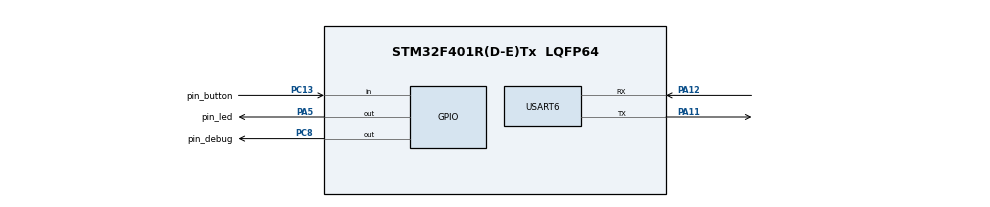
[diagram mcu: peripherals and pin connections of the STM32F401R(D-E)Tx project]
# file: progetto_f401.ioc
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FREERTOS.Tasks01=main_task,24,128,start_main_task,Default,NULL,Dynamic,NULL,NULL;second_task,8,128,start_second_task,Default,NULL,Dynamic,NULL,NULL
Mcu.Family=STM32F4
Mcu.Name=STM32F401R(D-E)Tx
Mcu.Package=LQFP64
NVIC.PriorityGroup=NVIC_PRIORITYGROUP_4
NVIC.TIM1_UP_TIM10_IRQn=true\:0\:0\:false\:false\:true\:false\:false\:true
NVIC.TimeBase=TIM1_UP_TIM10_IRQn
NVIC.TimeBaseIP=TIM1
NVIC.USART6_IRQn=true\:5\:0\:false\:false\:true\:true\:true\:true
PA11.Mode=Asynchronous
PA11.Signal=USART6_TX
PA12.Mode=Asynchronous
PA12.Signal=USART6_RX
PA5.GPIO_Label=pin_led
PA5.Signal=GPIO_Output
PC13-ANTI_TAMP.GPIO_Label=pin_button
PC13-ANTI_TAMP.Signal=GPIO_Input
PC8.GPIO_Label=pin_debug
PC8.Signal=GPIO_Output
PH0\ -\ OSC_IN.Mode=HSE-External-Oscillator
PH0\ -\ OSC_IN.Signal=RCC_OSC_IN
PH1\ -\ OSC_OUT.Mode=HSE-External-Oscillator
PH1\ -\ OSC_OUT.Signal=RCC_OSC_OUT
ProjectManager.HeapSize=0x200
ProjectManager.StackSize=0x400
ProjectManager.TargetToolchain=STM32CubeIDE
RCC.48MHZClocksFreq_Value=42000000
RCC.AHBFreq_Value=84000000
RCC.APB1CLKDivider=RCC_HCLK_DIV2
RCC.APB1Freq_Value=42000000
RCC.APB1TimFreq_Value=84000000
RCC.APB2Freq_Value=84000000
RCC.APB2TimFreq_Value=84000000
RCC.CortexFreq_Value=84000000
RCC.HCLKFreq_Value=84000000
RCC.HSE_VALUE=8000000
RCC.HSI_VALUE=16000000
RCC.LSE_VALUE=32768
RCC.PLLM=4
RCC.PLLN=84
RCC.PLLSourceVirtual=RCC_PLLSOURCE_HSE
RCC.SYSCLKFreq_VALUE=84000000
RCC.SYSCLKSource=RCC_SYSCLKSOURCE_PLLCLK
RCC.VCOOutputFreq_Value=168000000
USART6.VirtualMode=VM_ASYNC
VP_FREERTOS_VS_CMSIS_V2.Mode=CMSIS_V2
VP_SYS_VS_tim1.Mode=TIM1
board=custom

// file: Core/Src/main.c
/* USER CODE BEGIN Header */
/**
  ******************************************************************************
  * @file           : main.c
  * @brief          : Main program body
  ******************************************************************************
  * @attention
  *
  * <h2><center>&copy; Copyright (c) 2021 STMicroelectronics.
  * All rights reserved.</center></h2>
  *
  * This software component is licensed by ST under BSD 3-Clause license,
  * the "License"; You may not use this file except in compliance with the
  * License. You may obtain a copy of the License at:
  *                        opensource.org/licenses/BSD-3-Clause
  *
  ******************************************************************************
  */
/* USER CODE END Header */
#include "main.h"
#include "cmsis_os.h"

/* Definitions for main_task */
osThreadId_t main_taskHandle;
const osThreadAttr_t main_task_attributes = {
  .name = "main_task",
  .priority = (osPriority_t) osPriorityNormal,
  .stack_size = 128 * 4
};
/* Definitions for second_task */
osThreadId_t second_taskHandle;
const osThreadAttr_t second_task_attributes = {
  .name = "second_task",
  .priority = (osPriority_t) osPriorityLow,
  .stack_size = 128 * 4
};

void SystemClock_Config(void);
static void MX_GPIO_Init(void);
static void MX_USART6_UART_Init(void);
void start_main_task(void *argument);
void start_second_task(void *argument);

/* USER CODE BEGIN PFP */
extern void init_communication (void);
extern void main_communication (byte valore);

/* USER CODE END PFP */

int main(void)
{

  /* MCU Configuration--------------------------------------------------------*/

  /* Reset of all peripherals, Initializes the Flash interface and the Systick. */
  HAL_Init();

  /* Configure the system clock */
  SystemClock_Config();

  /* Initialize all configured peripherals */
  MX_GPIO_Init();
  MX_USART6_UART_Init();

  /* Init scheduler */
  osKernelInitialize();

  /* Create the thread(s) */
  /* creation of main_task */
  main_taskHandle = osThreadNew(start_main_task, NULL, &main_task_attributes);

  /* creation of second_task */
  second_taskHandle = osThreadNew(start_second_task, NULL, &second_task_attributes);

  /* Start scheduler */
  osKernelStart();

  /* We should never get here as control is now taken by the scheduler */
  /* Infinite loop */
  while (1)
  {

  }
}

void SystemClock_Config(void)
{
  LL_FLASH_SetLatency(LL_FLASH_LATENCY_2);
  while(LL_FLASH_GetLatency()!= LL_FLASH_LATENCY_2)
  {
  }
  LL_PWR_SetRegulVoltageScaling(LL_PWR_REGU_VOLTAGE_SCALE2);
  LL_RCC_HSE_Enable();

   /* Wait till HSE is ready */
  while(LL_RCC_HSE_IsReady() != 1)
  {

  }
  LL_RCC_PLL_ConfigDomain_SYS(LL_RCC_PLLSOURCE_HSE, LL_RCC_PLLM_DIV_4, 84, LL_RCC_PLLP_DIV_2);
  LL_RCC_PLL_Enable();

   /* Wait till PLL is ready */
  while(LL_RCC_PLL_IsReady() != 1)
  {

  }
  LL_RCC_SetAHBPrescaler(LL_RCC_SYSCLK_DIV_1);
  LL_RCC_SetAPB1Prescaler(LL_RCC_APB1_DIV_2);
  LL_RCC_SetAPB2Prescaler(LL_RCC_APB2_DIV_1);
  LL_RCC_SetSysClkSource(LL_RCC_SYS_CLKSOURCE_PLL);

   /* Wait till System clock is ready */
  while(LL_RCC_GetSysClkSource() != LL_RCC_SYS_CLKSOURCE_STATUS_PLL)
  {

  }
  LL_SetSystemCoreClock(84000000);

   /* Update the time base */
  if (HAL_InitTick (TICK_INT_PRIORITY) != HAL_OK)
  {
    Error_Handler();
  }
  LL_RCC_SetTIMPrescaler(LL_RCC_TIM_PRESCALER_TWICE);
}

static void MX_USART6_UART_Init(void)
{

  LL_USART_InitTypeDef USART_InitStruct = {0};

  LL_GPIO_InitTypeDef GPIO_InitStruct = {0};

  /* Peripheral clock enable */
  LL_APB2_GRP1_EnableClock(LL_APB2_GRP1_PERIPH_USART6);

  LL_AHB1_GRP1_EnableClock(LL_AHB1_GRP1_PERIPH_GPIOA);
  /**USART6 GPIO Configuration
  PA11   ------> USART6_TX
  PA12   ------> USART6_RX
  */
  GPIO_InitStruct.Pin = LL_GPIO_PIN_11|LL_GPIO_PIN_12;
  GPIO_InitStruct.Mode = LL_GPIO_MODE_ALTERNATE;
  GPIO_InitStruct.Speed = LL_GPIO_SPEED_FREQ_VERY_HIGH;
  GPIO_InitStruct.OutputType = LL_GPIO_OUTPUT_PUSHPULL;
  GPIO_InitStruct.Pull = LL_GPIO_PULL_NO;
  GPIO_InitStruct.Alternate = LL_GPIO_AF_8;
  LL_GPIO_Init(GPIOA, &GPIO_InitStruct);

  /* USART6 interrupt Init */
  NVIC_SetPriority(USART6_IRQn, NVIC_EncodePriority(NVIC_GetPriorityGrouping(),5, 0));
  NVIC_EnableIRQ(USART6_IRQn);

  USART_InitStruct.BaudRate = 115200;
  USART_InitStruct.DataWidth = LL_USART_DATAWIDTH_8B;
  USART_InitStruct.StopBits = LL_USART_STOPBITS_1;
  USART_InitStruct.Parity = LL_USART_PARITY_NONE;
  USART_InitStruct.TransferDirection = LL_USART_DIRECTION_TX_RX;
  USART_InitStruct.HardwareFlowControl = LL_USART_HWCONTROL_NONE;
  USART_InitStruct.OverSampling = LL_USART_OVERSAMPLING_16;
  LL_USART_Init(USART6, &USART_InitStruct);
  LL_USART_ConfigAsyncMode(USART6);
  LL_USART_Enable(USART6);

}

static void MX_GPIO_Init(void)
{
  LL_GPIO_InitTypeDef GPIO_InitStruct = {0};

  /* GPIO Ports Clock Enable */
  LL_AHB1_GRP1_EnableClock(LL_AHB1_GRP1_PERIPH_GPIOC);
  LL_AHB1_GRP1_EnableClock(LL_AHB1_GRP1_PERIPH_GPIOH);
  LL_AHB1_GRP1_EnableClock(LL_AHB1_GRP1_PERIPH_GPIOA);

  /**/
  LL_GPIO_ResetOutputPin(pin_led_GPIO_Port, pin_led_Pin);

  /**/
  LL_GPIO_ResetOutputPin(pin_debug_GPIO_Port, pin_debug_Pin);

  /**/
  GPIO_InitStruct.Pin = pin_button_Pin;
  GPIO_InitStruct.Mode = LL_GPIO_MODE_INPUT;
  GPIO_InitStruct.Pull = LL_GPIO_PULL_NO;
  LL_GPIO_Init(pin_button_GPIO_Port, &GPIO_InitStruct);

  /**/
  GPIO_InitStruct.Pin = pin_led_Pin;
  GPIO_InitStruct.Mode = LL_GPIO_MODE_OUTPUT;
  GPIO_InitStruct.Speed = LL_GPIO_SPEED_FREQ_LOW;
  GPIO_InitStruct.OutputType = LL_GPIO_OUTPUT_PUSHPULL;
  GPIO_InitStruct.Pull = LL_GPIO_PULL_NO;
  LL_GPIO_Init(pin_led_GPIO_Port, &GPIO_InitStruct);

  /**/
  GPIO_InitStruct.Pin = pin_debug_Pin;
  GPIO_InitStruct.Mode = LL_GPIO_MODE_OUTPUT;
  GPIO_InitStruct.Speed = LL_GPIO_SPEED_FREQ_LOW;
  GPIO_InitStruct.OutputType = LL_GPIO_OUTPUT_PUSHPULL;
  GPIO_InitStruct.Pull = LL_GPIO_PULL_NO;
  LL_GPIO_Init(pin_debug_GPIO_Port, &GPIO_InitStruct);

}

void start_main_task(void *argument)
{
  /* USER CODE BEGIN 5 */
	init_communication();
	uint8_t stati = 0;
  /* Infinite loop */
  for(;;)
  {
	  osDelay(30);

	  //	  if (LL_GPIO_IsInputPinSet(pin_button_GPIO_Port, pin_button_Pin))
	  //		  main_communication(0);
	  //	  else
	  //		  main_communication(1);
	  switch (stati) {
	  case 0:
		  main_communication(0);
		  //pressione del pulsante
		  if (!LL_GPIO_IsInputPinSet(pin_button_GPIO_Port, pin_button_Pin))
		  {
			  stati = 1;
		  }
		  break;
	  case 1:
		  main_communication(1);
		  //rilascio del pulsante
		  if (LL_GPIO_IsInputPinSet(pin_button_GPIO_Port, pin_button_Pin))
		  {
			  stati = 2;
		  }
		  break;
	  case 2:
		  main_communication(1);
		  //pressione del pulsante
		  if (!LL_GPIO_IsInputPinSet(pin_button_GPIO_Port, pin_button_Pin))
		  {
			  stati = 3;
		  }
		  break;
	  case 3:
		  main_communication(2);
		  //rilascio del pulsante
		  if (LL_GPIO_IsInputPinSet(pin_button_GPIO_Port, pin_button_Pin))
		  {
			  stati = 4;
		  }
		  break;
	  case 4:
		  main_communication(2);
		  //pressione del pulsante
		  if (!LL_GPIO_IsInputPinSet(pin_button_GPIO_Port, pin_button_Pin))
		  {
			  stati = 5;
		  }
		  break;
	  case 5:
		  main_communication(0);
		  //rilascio del pulsante
		  if (LL_GPIO_IsInputPinSet(pin_button_GPIO_Port, pin_button_Pin))
		  {
			  stati = 0;
		  }
		  break;
	  default:
		  break;

	  }
	  //osSemaphoreAcquire(semaphore_id, timeout)
  }
  /* USER CODE END 5 */
}

void start_second_task(void *argument)
{
  /* USER CODE BEGIN start_second_task */
	/* Infinite loop */
	for(;;)
	{
		LL_GPIO_TogglePin(pin_led_GPIO_Port, pin_led_Pin);
		//LL_GPIO_SetOutputPin(pin_led_GPIO_Port, pin_led_Pin);
		osDelay(500);

	}
  /* USER CODE END start_second_task */
}

 /**
  * @brief  Period elapsed callback in non blocking mode
  * @note   This function is called  when TIM1 interrupt took place, inside
  * HAL_TIM_IRQHandler(). It makes a direct call to HAL_IncTick() to increment
  * a global variable "uwTick" used as application time base.
  * @param  htim : TIM handle
  * @retval None
  */
void HAL_TIM_PeriodElapsedCallback(TIM_HandleTypeDef *htim)
{
  if (htim->Instance == TIM1) {
    HAL_IncTick();
  }
}

void Error_Handler(void)
{
  __disable_irq();
  while (1)
  {
  }
}

/************************ (C) COPYRIGHT STMicroelectronics *****END OF FILE****/
